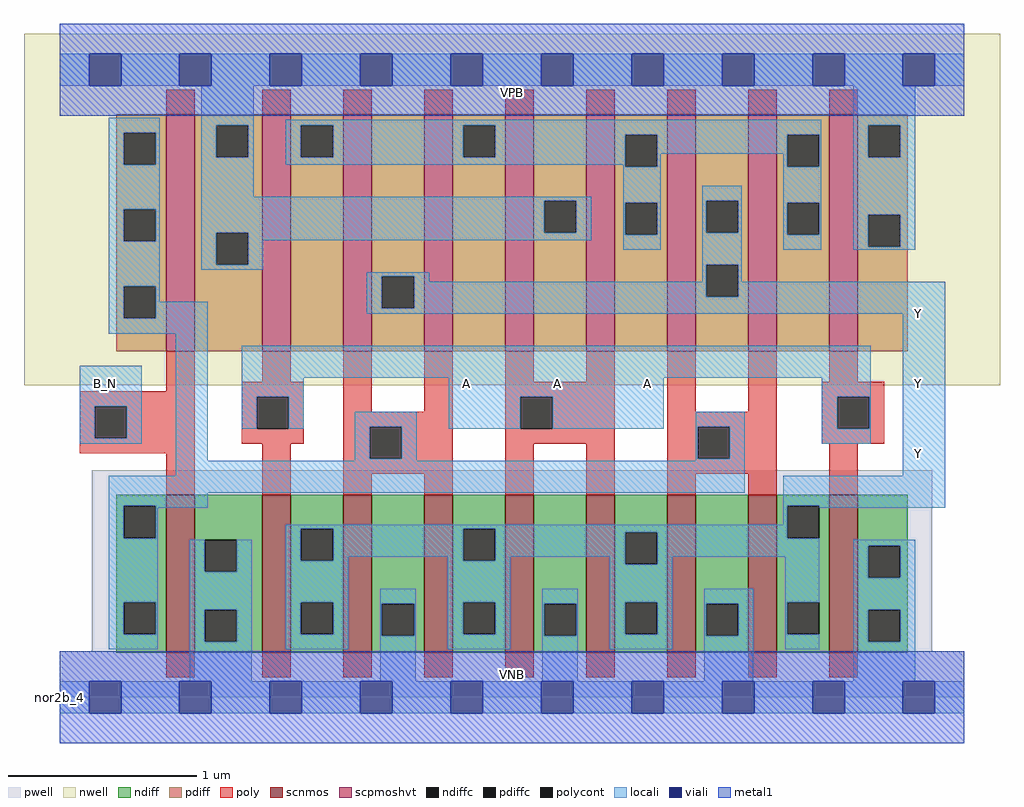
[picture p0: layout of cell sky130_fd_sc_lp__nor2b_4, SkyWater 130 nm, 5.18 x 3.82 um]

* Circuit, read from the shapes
.subckt sky130_fd_sc_lp__nor2b_4 A B_N VGND VNB VPB VPWR Y
XM1 VGND B_N n1 VNB sky130_fd_pr__nfet_01v8 w=0.84 l=0.15
XM2 Y A VGND VNB sky130_fd_pr__nfet_01v8 w=0.84 l=0.15 m=4
XM3 VGND n1 Y VNB sky130_fd_pr__nfet_01v8 w=0.84 l=0.15 m=4
XM4 VPWR B_N n1 VPB sky130_fd_pr__pfet_01v8_hvt w=1.26 l=0.15
XM5 n2 A VPWR VPB sky130_fd_pr__pfet_01v8_hvt w=1.26 l=0.15 m=4
XM6 Y n1 n2 VPB sky130_fd_pr__pfet_01v8_hvt w=1.26 l=0.15 m=4
.ends

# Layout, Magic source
magic
tech sky130A
magscale 1 2
<< nwell >>
rect -38 331 998 704
<< pwell >>
rect 34 49 926 241
rect 0 0 960 49
<< scnmos >>
rect 113 47 143 215
rect 215 47 245 215
rect 301 47 331 215
rect 387 47 417 215
rect 473 47 503 215
rect 559 47 589 215
rect 645 47 675 215
rect 731 47 761 215
rect 817 47 847 215
<< scpmoshvt >>
rect 113 367 143 619
rect 215 367 245 619
rect 301 367 331 619
rect 387 367 417 619
rect 473 367 503 619
rect 559 367 589 619
rect 645 367 675 619
rect 731 367 761 619
rect 817 367 847 619
<< ndiff >>
rect 60 203 113 215
rect 60 169 68 203
rect 102 169 113 203
rect 60 101 113 169
rect 60 67 68 101
rect 102 67 113 101
rect 60 47 113 67
rect 143 167 215 215
rect 143 133 154 167
rect 188 133 215 167
rect 143 93 215 133
rect 143 59 154 93
rect 188 59 215 93
rect 143 47 215 59
rect 245 179 301 215
rect 245 145 256 179
rect 290 145 301 179
rect 245 101 301 145
rect 245 67 256 101
rect 290 67 301 101
rect 245 47 301 67
rect 331 99 387 215
rect 331 65 342 99
rect 376 65 387 99
rect 331 47 387 65
rect 417 179 473 215
rect 417 145 428 179
rect 462 145 473 179
rect 417 101 473 145
rect 417 67 428 101
rect 462 67 473 101
rect 417 47 473 67
rect 503 99 559 215
rect 503 65 514 99
rect 548 65 559 99
rect 503 47 559 65
rect 589 175 645 215
rect 589 141 600 175
rect 634 141 645 175
rect 589 101 645 141
rect 589 67 600 101
rect 634 67 645 101
rect 589 47 645 67
rect 675 99 731 215
rect 675 65 686 99
rect 720 65 731 99
rect 675 47 731 65
rect 761 203 817 215
rect 761 169 772 203
rect 806 169 817 203
rect 761 101 817 169
rect 761 67 772 101
rect 806 67 817 101
rect 761 47 817 67
rect 847 161 900 215
rect 847 127 858 161
rect 892 127 900 161
rect 847 93 900 127
rect 847 59 858 93
rect 892 59 900 93
rect 847 47 900 59
<< pdiff >>
rect 60 599 113 619
rect 60 565 68 599
rect 102 565 113 599
rect 60 518 113 565
rect 60 484 68 518
rect 102 484 113 518
rect 60 436 113 484
rect 60 402 68 436
rect 102 402 113 436
rect 60 367 113 402
rect 143 607 215 619
rect 143 573 166 607
rect 200 573 215 607
rect 143 493 215 573
rect 143 459 166 493
rect 200 459 215 493
rect 143 367 215 459
rect 245 607 301 619
rect 245 573 256 607
rect 290 573 301 607
rect 245 367 301 573
rect 331 447 387 619
rect 331 413 342 447
rect 376 413 387 447
rect 331 367 387 413
rect 417 607 473 619
rect 417 573 428 607
rect 462 573 473 607
rect 417 367 473 573
rect 503 527 559 619
rect 503 493 514 527
rect 548 493 559 527
rect 503 367 559 493
rect 589 597 645 619
rect 589 563 600 597
rect 634 563 645 597
rect 589 525 645 563
rect 589 491 600 525
rect 634 491 645 525
rect 589 367 645 491
rect 675 527 731 619
rect 675 493 686 527
rect 720 493 731 527
rect 675 459 731 493
rect 675 425 686 459
rect 720 425 731 459
rect 675 367 731 425
rect 761 597 817 619
rect 761 563 772 597
rect 806 563 817 597
rect 761 525 817 563
rect 761 491 772 525
rect 806 491 817 525
rect 761 367 817 491
rect 847 607 900 619
rect 847 573 858 607
rect 892 573 900 607
rect 847 512 900 573
rect 847 478 858 512
rect 892 478 900 512
rect 847 367 900 478
<< ndiffc >>
rect 68 169 102 203
rect 68 67 102 101
rect 154 133 188 167
rect 154 59 188 93
rect 256 145 290 179
rect 256 67 290 101
rect 342 65 376 99
rect 428 145 462 179
rect 428 67 462 101
rect 514 65 548 99
rect 600 141 634 175
rect 600 67 634 101
rect 686 65 720 99
rect 772 169 806 203
rect 772 67 806 101
rect 858 127 892 161
rect 858 59 892 93
<< pdiffc >>
rect 68 565 102 599
rect 68 484 102 518
rect 68 402 102 436
rect 166 573 200 607
rect 166 459 200 493
rect 256 573 290 607
rect 342 413 376 447
rect 428 573 462 607
rect 514 493 548 527
rect 600 563 634 597
rect 600 491 634 525
rect 686 493 720 527
rect 686 425 720 459
rect 772 563 806 597
rect 772 491 806 525
rect 858 573 892 607
rect 858 478 892 512
<< poly >>
rect 113 619 143 645
rect 215 619 245 645
rect 301 619 331 645
rect 387 619 417 645
rect 473 619 503 645
rect 559 619 589 645
rect 645 619 675 645
rect 731 619 761 645
rect 817 619 847 645
rect 113 325 143 367
rect 215 335 245 367
rect 21 309 143 325
rect 21 275 37 309
rect 71 275 143 309
rect 21 259 143 275
rect 193 319 259 335
rect 193 285 209 319
rect 243 285 259 319
rect 193 269 259 285
rect 301 303 331 367
rect 387 303 417 367
rect 301 287 417 303
rect 113 215 143 259
rect 215 215 245 269
rect 301 253 329 287
rect 363 253 417 287
rect 301 237 417 253
rect 301 215 331 237
rect 387 215 417 237
rect 473 335 503 367
rect 559 335 589 367
rect 473 319 589 335
rect 473 285 489 319
rect 523 285 589 319
rect 473 269 589 285
rect 473 215 503 269
rect 559 215 589 269
rect 645 303 675 367
rect 731 303 761 367
rect 817 335 847 367
rect 645 287 761 303
rect 645 253 677 287
rect 711 253 761 287
rect 809 319 875 335
rect 809 285 825 319
rect 859 285 875 319
rect 809 269 875 285
rect 645 237 761 253
rect 645 215 675 237
rect 731 215 761 237
rect 817 215 847 269
rect 113 21 143 47
rect 215 21 245 47
rect 301 21 331 47
rect 387 21 417 47
rect 473 21 503 47
rect 559 21 589 47
rect 645 21 675 47
rect 731 21 761 47
rect 817 21 847 47
<< polycont >>
rect 37 275 71 309
rect 209 285 243 319
rect 329 253 363 287
rect 489 285 523 319
rect 677 253 711 287
rect 825 285 859 319
<< locali >>
rect 0 649 31 683
rect 65 649 127 683
rect 161 649 223 683
rect 257 649 319 683
rect 353 649 415 683
rect 449 649 511 683
rect 545 649 607 683
rect 641 649 703 683
rect 737 649 799 683
rect 833 649 895 683
rect 929 649 960 683
rect 52 599 106 615
rect 52 565 68 599
rect 102 565 106 599
rect 52 518 106 565
rect 52 484 68 518
rect 102 484 106 518
rect 52 436 106 484
rect 150 607 206 649
rect 150 573 166 607
rect 200 573 206 607
rect 150 531 206 573
rect 240 607 808 613
rect 240 573 256 607
rect 290 573 428 607
rect 462 597 808 607
rect 462 573 600 597
rect 240 565 600 573
rect 598 563 600 565
rect 634 577 772 597
rect 634 563 638 577
rect 150 527 564 531
rect 150 493 514 527
rect 548 493 564 527
rect 150 459 166 493
rect 200 485 564 493
rect 598 525 638 563
rect 768 563 772 577
rect 806 563 808 597
rect 598 491 600 525
rect 634 491 638 525
rect 200 459 216 485
rect 598 475 638 491
rect 682 527 724 543
rect 682 493 686 527
rect 720 493 724 527
rect 150 454 216 459
rect 682 459 724 493
rect 768 525 808 563
rect 768 491 772 525
rect 806 491 808 525
rect 768 475 808 491
rect 842 607 908 649
rect 842 573 858 607
rect 892 573 908 607
rect 842 512 908 573
rect 842 478 858 512
rect 892 478 908 512
rect 842 475 908 478
rect 52 402 68 436
rect 102 420 106 436
rect 326 447 392 451
rect 102 402 157 420
rect 326 413 342 447
rect 376 441 392 447
rect 682 441 686 459
rect 376 425 686 441
rect 720 441 724 459
rect 720 425 940 441
rect 376 413 940 425
rect 326 407 940 413
rect 52 386 157 402
rect 21 309 87 352
rect 21 275 37 309
rect 71 275 87 309
rect 21 269 87 275
rect 123 251 157 386
rect 193 339 861 373
rect 193 319 259 339
rect 193 285 209 319
rect 243 285 259 319
rect 413 319 641 339
rect 313 287 379 303
rect 313 253 329 287
rect 363 253 379 287
rect 413 285 489 319
rect 523 285 641 319
rect 809 319 861 339
rect 675 287 727 303
rect 313 251 379 253
rect 675 253 677 287
rect 711 253 727 287
rect 809 285 825 319
rect 859 285 861 319
rect 809 269 861 285
rect 675 251 727 253
rect 123 235 727 251
rect 895 235 940 407
rect 52 217 727 235
rect 52 203 157 217
rect 52 169 68 203
rect 102 201 157 203
rect 768 203 940 235
rect 102 169 104 201
rect 768 183 772 203
rect 52 101 104 169
rect 240 179 772 183
rect 52 67 68 101
rect 102 67 104 101
rect 52 51 104 67
rect 138 133 154 167
rect 188 133 204 167
rect 138 93 204 133
rect 138 59 154 93
rect 188 59 204 93
rect 138 17 204 59
rect 240 145 256 179
rect 290 149 428 179
rect 290 145 306 149
rect 240 101 306 145
rect 412 145 428 149
rect 462 175 772 179
rect 462 149 600 175
rect 462 145 478 149
rect 240 67 256 101
rect 290 67 306 101
rect 240 51 306 67
rect 340 99 378 115
rect 340 65 342 99
rect 376 65 378 99
rect 340 17 378 65
rect 412 101 478 145
rect 584 141 600 149
rect 634 169 772 175
rect 806 201 940 203
rect 634 149 806 169
rect 634 141 650 149
rect 412 67 428 101
rect 462 67 478 101
rect 412 51 478 67
rect 512 99 550 115
rect 512 65 514 99
rect 548 65 550 99
rect 512 17 550 65
rect 584 101 650 141
rect 584 67 600 101
rect 634 67 650 101
rect 584 51 650 67
rect 684 99 736 115
rect 684 65 686 99
rect 720 65 736 99
rect 684 17 736 65
rect 770 101 806 149
rect 770 67 772 101
rect 770 51 806 67
rect 842 161 908 167
rect 842 127 858 161
rect 892 127 908 161
rect 842 93 908 127
rect 842 59 858 93
rect 892 59 908 93
rect 842 17 908 59
rect 0 -17 31 17
rect 65 -17 127 17
rect 161 -17 223 17
rect 257 -17 319 17
rect 353 -17 415 17
rect 449 -17 511 17
rect 545 -17 607 17
rect 641 -17 703 17
rect 737 -17 799 17
rect 833 -17 895 17
rect 929 -17 960 17
<< viali >>
rect 31 649 65 683
rect 127 649 161 683
rect 223 649 257 683
rect 319 649 353 683
rect 415 649 449 683
rect 511 649 545 683
rect 607 649 641 683
rect 703 649 737 683
rect 799 649 833 683
rect 895 649 929 683
rect 31 -17 65 17
rect 127 -17 161 17
rect 223 -17 257 17
rect 319 -17 353 17
rect 415 -17 449 17
rect 511 -17 545 17
rect 607 -17 641 17
rect 703 -17 737 17
rect 799 -17 833 17
rect 895 -17 929 17
<< metal1 >>
rect 0 683 960 715
rect 0 649 31 683
rect 65 649 127 683
rect 161 649 223 683
rect 257 649 319 683
rect 353 649 415 683
rect 449 649 511 683
rect 545 649 607 683
rect 641 649 703 683
rect 737 649 799 683
rect 833 649 895 683
rect 929 649 960 683
rect 0 617 960 649
rect 0 17 960 49
rect 0 -17 31 17
rect 65 -17 127 17
rect 161 -17 223 17
rect 257 -17 319 17
rect 353 -17 415 17
rect 449 -17 511 17
rect 545 -17 607 17
rect 641 -17 703 17
rect 737 -17 799 17
rect 833 -17 895 17
rect 929 -17 960 17
rect 0 -49 960 -17
<< labels >>
flabel pwell s 0 0 960 49 0 FreeSans 200 0 0 0 VNB
port 4 nsew ground bidirectional
flabel nwell s 0 617 960 666 0 FreeSans 200 0 0 0 VPB
port 5 nsew power bidirectional
rlabel comment s 0 0 0 0 4 nor2b_4
flabel metal1 s 0 617 960 666 0 FreeSans 340 0 0 0 VPWR
port 6 nsew power bidirectional
flabel metal1 s 0 0 960 49 0 FreeSans 340 0 0 0 VGND
port 3 nsew ground bidirectional
flabel locali s 31 316 65 350 0 FreeSans 340 0 0 0 B_N
port 2 nsew signal input
flabel locali s 415 316 449 350 0 FreeSans 340 0 0 0 A
port 1 nsew signal input
flabel locali s 511 316 545 350 0 FreeSans 340 0 0 0 A
port 1 nsew signal input
flabel locali s 607 316 641 350 0 FreeSans 340 0 0 0 A
port 1 nsew signal input
flabel locali s 895 242 929 276 0 FreeSans 340 0 0 0 Y
port 7 nsew signal output
flabel locali s 895 316 929 350 0 FreeSans 340 0 0 0 Y
port 7 nsew signal output
flabel locali s 895 390 929 424 0 FreeSans 340 0 0 0 Y
port 7 nsew signal output
<< properties >>
string LEFsite unit
string LEFclass CORE
string FIXED_BBOX 0 0 960 666
string GDS_FILE $PDKPATH/libs.ref/sky130_fd_sc_lp/gds/sky130_fd_sc_lp.gds
string LEFsymmetry X Y R90
string GDS_END 5259928
string GDS_START 5251846
<< end >>
